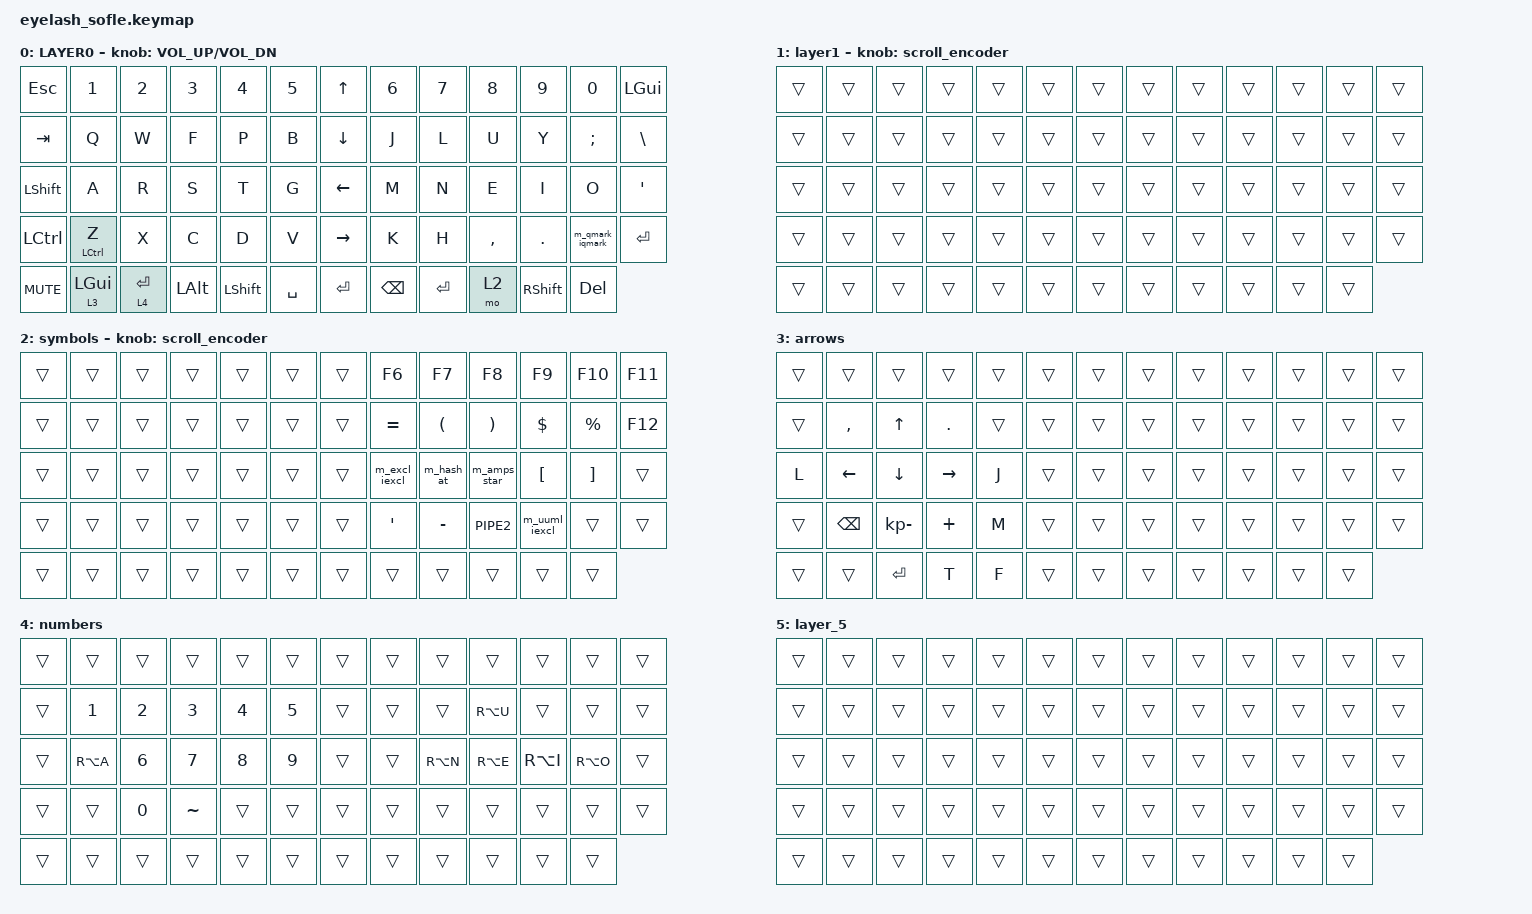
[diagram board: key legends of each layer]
#define ZMK_POINTING_DEFAULT_MOVE_VAL 1200
#define ZMK_POINTING_DEFAULT_SCRL_VAL 25

#include <input/processors.dtsi>
#include <zephyr/dt-bindings/input/input-event-codes.h>
#include <dt-bindings/zmk/modifiers.h>
#include <behaviors.dtsi>
#include <dt-bindings/zmk/keys.h>
#include <dt-bindings/zmk/pointing.h>

&mmv_input_listener { input-processors = <&zip_xy_scaler 2 1>; };

&msc_input_listener { input-processors = <&zip_scroll_scaler 2 1>; };

&msc {
    acceleration-exponent = <1>;
    time-to-max-speed-ms = <100>;
    delay-ms = <0>;
};

&mmv {
    time-to-max-speed-ms = <500>;
    acceleration-exponent = <1>;
    trigger-period-ms = <16>;
};

/ {
    behaviors {
        m_hash_at: m_hash_at {
            compatible = "zmk,behavior-mod-morph";
            label = "HASH_AT";
            #binding-cells = <0>;
            bindings = <&kp HASH>, <&kp AT>;

            mods = <(MOD_LSFT|MOD_RSFT)>;
        };

        m_amps_star: m_amps_star {
            compatible = "zmk,behavior-mod-morph";
            label = "AMPS_STAR";
            #binding-cells = <0>;
            bindings = <&kp AMPS>, <&kp STAR>;

            mods = <(MOD_LSFT|MOD_RSFT)>;
        };

        m_qmark_iqmark: m_qmark_iqmark {
            compatible = "zmk,behavior-mod-morph";
            label = "QMARK_IQMARK";
            #binding-cells = <0>;
            bindings = <&kp QMARK>, <&kp RA(FSLH)>;

            mods = <(MOD_LSFT|MOD_RSFT)>;
        };

        m_excl_iexcl: m_excl_iexcl {
            compatible = "zmk,behavior-mod-morph";
            label = "EXCL_IEXCL";
            #binding-cells = <0>;
            bindings = <&kp EXCL>, <&kp RA(N1)>;

            mods = <(MOD_LSFT|MOD_RSFT)>;
        };

        m_uuml_iexcl: m_uuml_iexcl {
            compatible = "zmk,behavior-mod-morph";
            label = "UUML_IEXCL";
            #binding-cells = <0>;
            bindings = <&kp RA(Y)>, <&kp RA(N1)>;

            mods = <(MOD_LSFT|MOD_RSFT)>;
        };
    };

    scroll_encoder: scroll_encoder {
        compatible = "zmk,behavior-sensor-rotate";
        #sensor-binding-cells = <0>;
        bindings = <&msc SCRL_DOWN>, <&msc SCRL_UP>;

        tap-ms = <100>;
    };

    keymap {
        compatible = "zmk,keymap";

        layer0 {
            bindings = <
&kp ESC     &kp N1       &kp N2       &kp N3        &kp N4     &kp N5       &kp UP_ARROW     &kp N6         &kp N7     &kp N8     &kp N9           &kp N0           &kp LEFT_GUI
&kp TAB     &kp Q        &kp W        &kp F         &kp P      &kp B        &kp DOWN_ARROW   &kp J          &kp L      &kp U      &kp Y            &kp SEMI         &kp BSLH
&kp LSHFT   &kp A        &kp R        &kp S         &kp T      &kp G        &kp LEFT_ARROW   &kp M          &kp N      &kp E      &kp I            &kp O            &kp APOS
&kp LCTRL   &mt LCTRL Z  &kp X        &kp C         &kp D      &kp V        &kp RIGHT_ARROW  &kp K          &kp H      &kp COMMA  &kp DOT          &m_qmark_iqmark  &kp ENTER
&kp C_MUTE  &lt 3 LGUI   &lt 4 ENTER  &kp LEFT_ALT  &kp LSHFT  &kp SPACE    &kp ENTER        &kp BACKSPACE  &kp ENTER  &mo 2      &kp RIGHT_SHIFT  &kp DELETE
            >;

            sensor-bindings = <&inc_dec_kp C_VOLUME_UP C_VOL_DN>;
            display-name = "LAYER0";
        };

        layer_1 {
            // THIS LAYER HAS BEEN TEMPORARILY CLEARED TO ISOLATE A BUILD ERROR

            bindings = <
&trans  &trans  &trans  &trans  &trans  &trans    &trans  &trans  &trans  &trans  &trans  &trans  &trans
&trans  &trans  &trans  &trans  &trans  &trans    &trans  &trans  &trans  &trans  &trans  &trans  &trans
&trans  &trans  &trans  &trans  &trans  &trans    &trans  &trans  &trans  &trans  &trans  &trans  &trans
&trans  &trans  &trans  &trans  &trans  &trans    &trans  &trans  &trans  &trans  &trans  &trans  &trans
&trans  &trans  &trans  &trans  &trans  &trans    &trans  &trans  &trans  &trans  &trans  &trans
            >;

            display-name = "layer1";
            sensor-bindings = <&scroll_encoder>;
        };

        layer_2 {
            bindings = <
&trans  &trans  &trans  &trans  &trans  &trans    &trans  &kp F6         &kp F7      &kp F8                 &kp F9            &kp F10            &kp F11
&trans  &trans  &trans  &trans  &trans  &trans    &trans  &kp EQUAL      &kp LPAR    &kp RIGHT_PARENTHESIS  &kp DOLLAR        &kp PERCENT        &kp F12
&trans  &trans  &trans  &trans  &trans  &trans    &trans  &m_excl_iexcl  &m_hash_at  &m_amps_star           &kp LEFT_BRACKET  &kp RIGHT_BRACKET  &trans
&trans  &trans  &trans  &trans  &trans  &trans    &trans  &kp SQT        &kp MINUS   &kp PIPE2              &m_uuml_iexcl     &trans             &trans
&trans  &trans  &trans  &trans  &trans  &trans    &trans  &trans         &trans      &trans                 &trans            &trans
            >;

            display-name = "symbols";
            sensor-bindings = <&scroll_encoder>;
        };

        layer_3 {
            bindings = <
&trans  &trans         &trans        &trans     &trans  &trans    &trans  &trans  &trans  &trans  &trans  &trans  &trans
&trans  &kp COMMA      &kp UP        &kp DOT    &trans  &trans    &trans  &trans  &trans  &trans  &trans  &trans  &trans
&kp L   &kp LEFT       &kp DOWN      &kp RIGHT  &kp J   &trans    &trans  &trans  &trans  &trans  &trans  &trans  &trans
&trans  &kp BACKSPACE  &kp KP_MINUS  &kp PLUS   &kp M   &trans    &trans  &trans  &trans  &trans  &trans  &trans  &trans
&trans  &trans         &kp ENTER     &kp T      &kp F   &trans    &trans  &trans  &trans  &trans  &trans  &trans
            >;

            display-name = "arrows";
        };

        layer_4 {
            bindings = <
&trans  &trans     &trans  &trans     &trans  &trans    &trans  &trans  &trans     &trans     &trans     &trans     &trans
&trans  &kp N1     &kp N2  &kp N3     &kp N4  &kp N5    &trans  &trans  &trans     &kp RA(U)  &trans     &trans     &trans
&trans  &kp RA(A)  &kp N6  &kp N7     &kp N8  &kp N9    &trans  &trans  &kp RA(N)  &kp RA(E)  &kp RA(I)  &kp RA(O)  &trans
&trans  &trans     &kp N0  &kp TILDE  &trans  &trans    &trans  &trans  &trans     &trans     &trans     &trans     &trans
&trans  &trans     &trans  &trans     &trans  &trans    &trans  &trans  &trans     &trans     &trans     &trans
            >;

            display-name = "numbers";
        };

        layer_5 {
            bindings = <
&trans  &trans  &trans  &trans  &trans  &trans    &trans  &trans  &trans  &trans  &trans  &trans  &trans
&trans  &trans  &trans  &trans  &trans  &trans    &trans  &trans  &trans  &trans  &trans  &trans  &trans
&trans  &trans  &trans  &trans  &trans  &trans    &trans  &trans  &trans  &trans  &trans  &trans  &trans
&trans  &trans  &trans  &trans  &trans  &trans    &trans  &trans  &trans  &trans  &trans  &trans  &trans
&trans  &trans  &trans  &trans  &trans  &trans    &trans  &trans  &trans  &trans  &trans  &trans
            >;
        };
    };
};
